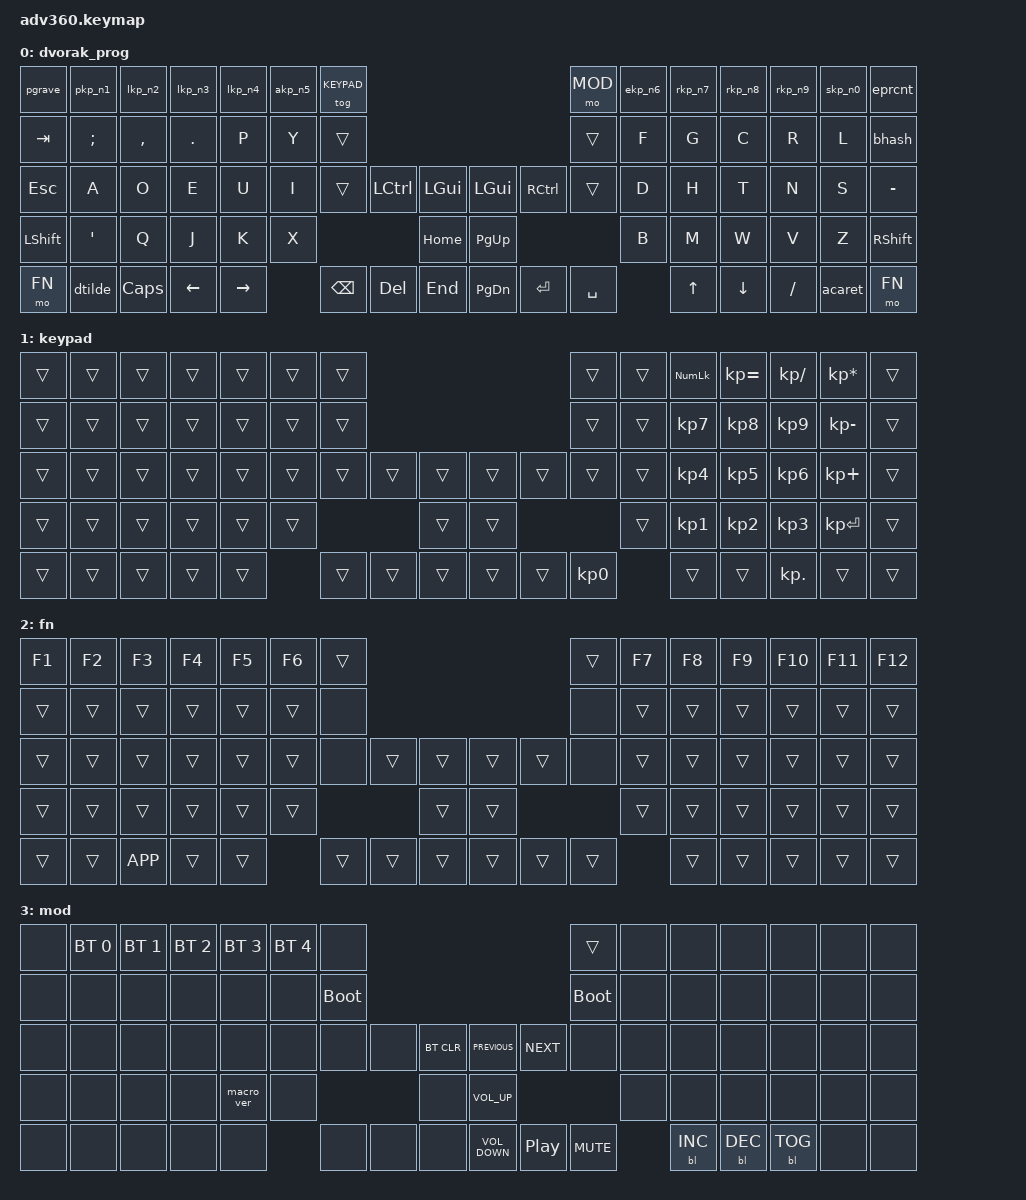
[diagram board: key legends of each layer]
#include <behaviors.dtsi>
#include <dt-bindings/zmk/keys.h>
#include <dt-bindings/zmk/bt.h>
#include <dt-bindings/zmk/rgb.h>
#include <dt-bindings/zmk/backlight.h>


#define ______ &trans
#define xxxxxx &none

#define DVORAKP 0
#define KEYPAD 1
#define FN 2
#define MOD 3


/ {
    behaviors {
        #include "macros.dtsi"
        #include "version.dtsi"
        #ifndef VERSION_MACRO
        macro_ver: macro_ver {
            compatible = "zmk,behavior-macro";
            label = "macro_version";
            #binding-cells = <0>;
            bindings = <&kp RET>;
        };
        #endif

        hm: homerow_mods {
            compatible = "zmk,behavior-hold-tap";
            label = "HOMEROW_MODS";
            #binding-cells = <2>;
            tapping-term-ms = <200>;
            quick_tap_ms = <175>;
            flavor = "tap-preferred";
            bindings = <&kp>, <&kp>;
        };
        gpipe: grave_pipe {
            compatible = "zmk,behavior-mod-morph";
            label = "grave_pipe";
            #binding-cells = <0>;
            bindings = <&kp GRAVE>, <&kp PIPE>;
            mods = <(LGUI|LSHIFT|RGUI|RSHIFT)>;
        };
        ppipe: pipe_pipe {
            compatible = "zmk,behavior-mod-morph";
            label = "pipe_pipe";
            #binding-cells = <0>;
            bindings = <&kp PIPE>, <&kp PIPE>;
            mods = <(LGUI|LSHIFT|RGUI|RSHIFT)>;
        };
        pkp_n1: plus_kp_n1 {
            compatible = "zmk,behavior-mod-morph";
            label = "plus_kp_n1";
            #binding-cells = <0>;
            bindings = <&kp PLUS>, <&kp KP_N1>;
            mods = <(LGUI|LSHIFT|RGUI|RSHIFT)>;
        };
        lkp_n2: left_bracket_kp_n2 {
            compatible = "zmk,behavior-mod-morph";
            label = "left_bracket_kp_n2";
            #binding-cells = <0>;
            bindings = <&kp LEFT_BRACKET>, <&kp KP_N2>;
            mods = <(LGUI|LSHIFT|RGUI|RSHIFT)>;
        };
        lkp_n3: left_brace_kp_n3 {
            compatible = "zmk,behavior-mod-morph";
            label = "left_brace_kp_n3";
            #binding-cells = <0>;
            bindings = <&kp LEFT_BRACE>, <&kp KP_N3>;
            mods = <(LGUI|LSHIFT|RGUI|RSHIFT)>;
        };
        lkp_n4: left_parenthesis_kp_n4 {
            compatible = "zmk,behavior-mod-morph";
            label = "left_parenthesis_kp_n4";
            #binding-cells = <0>;
            bindings = <&kp LEFT_PARENTHESIS>, <&kp KP_N4>;
            mods = <(LGUI|LSHIFT|RGUI|RSHIFT)>;
        };
        akp_n5: amps_kp_n5 {
            compatible = "zmk,behavior-mod-morph";
            label = "amps_kp_n5";
            #binding-cells = <0>;
            bindings = <&kp AMPS>, <&kp KP_N5>;
            mods = <(LGUI|LSHIFT|RGUI|RSHIFT)>;
        };
        ekp_n6: equal_kp_n6 {
            compatible = "zmk,behavior-mod-morph";
            label = "equal_kp_n6";
            #binding-cells = <0>;
            bindings = <&kp EQUAL>, <&kp KP_N6>;
            mods = <(LGUI|LSHIFT|RGUI|RSHIFT)>;
        };
        rkp_n7: right_parenthesis_kp_n7 {
            compatible = "zmk,behavior-mod-morph";
            label = "right_parenthesis_kp_n7";
            #binding-cells = <0>;
            bindings = <&kp RIGHT_PARENTHESIS>, <&kp KP_N7>;
            mods = <(LGUI|LSHIFT|RGUI|RSHIFT)>;
        };
        rkp_n8: right_brace_kp_n8 {
            compatible = "zmk,behavior-mod-morph";
            label = "right_brace_kp_n8";
            #binding-cells = <0>;
            bindings = <&kp RIGHT_BRACE>, <&kp KP_N8>;
            mods = <(LGUI|LSHIFT|RGUI|RSHIFT)>;
        };
        rkp_n9: right_bracket_kp_n9 {
            compatible = "zmk,behavior-mod-morph";
            label = "right_bracket_kp_n9";
            #binding-cells = <0>;
            bindings = <&kp RIGHT_BRACKET>, <&kp KP_N9>;
            mods = <(LGUI|LSHIFT|RGUI|RSHIFT)>;
        };
        skp_n0: star_kp_n0 {
            compatible = "zmk,behavior-mod-morph";
            label = "star_kp_n0";
            #binding-cells = <0>;
            bindings = <&kp STAR>, <&kp KP_N0>;
            mods = <(LGUI|LSHIFT|RGUI|RSHIFT)>;
        };
        eprcnt: excl_prcnt {
            compatible = "zmk,behavior-mod-morph";
            label = "excl_prcnt";
            #binding-cells = <0>;
            bindings = <&kp EXCL>, <&kp PRCNT>;
            mods = <(LGUI|LSHIFT|RGUI|RSHIFT)>;
        };
        dgrave: dllr_grave {
            compatible = "zmk,behavior-mod-morph";
            label = "dllr_grave";
            #binding-cells = <0>;
            bindings = <&kp DLLR>, <&kp GRAVE>;
            mods = <(LGUI|LSHIFT|RGUI|RSHIFT)>;
        };
        dtilde: dllr_tilde {
            compatible = "zmk,behavior-mod-morph";
            label = "dllr_tilde";
            #binding-cells = <0>;
            bindings = <&kp DLLR>, <&kp TILDE>;
            mods = <(LGUI|LSHIFT|RGUI|RSHIFT)>;
        };
        ggrave: grave_grave {
            compatible = "zmk,behavior-mod-morph";
            label = "grave_grave";
            #binding-cells = <0>;
            bindings = <&kp GRAVE>, <&kp GRAVE>;
            mods = <(LGUI|LSHIFT|RGUI|RSHIFT)>;
        };
        pgrave: pipe_grave {
            compatible = "zmk,behavior-mod-morph";
            label = "pipe_grave";
            #binding-cells = <0>;
            bindings = <&kp PIPE>, <&kp GRAVE>;
            mods = <(LGUI|LSHIFT|RGUI|RSHIFT)>;
        };
        bhash: bslh_hash {
            compatible = "zmk,behavior-mod-morph";
            label = "bslh_hash";
            #binding-cells = <0>;
            bindings = <&kp BSLH>, <&kp HASH>;
            mods = <(LGUI|LSHIFT|RGUI|RSHIFT)>;
        };
        acaret: at_caret {
            compatible = "zmk,behavior-mod-morph";
            label = "at_caret";
            #binding-cells = <0>;
            bindings = <&kp AT>, <&kp CARET>;
            mods = <(LGUI|LSHIFT|RGUI|RSHIFT)>;
        };
    };

    keymap {
        compatible = "zmk,keymap";

        dvorak_prog {
            bindings = <
                &pgrave    &pkp_n1   &lkp_n2    &lkp_n3   &lkp_n4    &akp_n5       &tog KEYPAD                                                &mo MOD    &ekp_n6  &rkp_n7  &rkp_n8   &rkp_n9   &skp_n0  &eprcnt
                &kp TAB    &kp SEMI  &kp COMMA  &kp DOT   &kp P      &kp Y         ______                                                     ______     &kp F    &kp G    &kp C     &kp R     &kp L    &bhash
                &kp ESC    &kp A     &kp O      &kp E     &kp U      &kp I         ______       &kp LCTRL  &kp LGUI     &kp LGUI   &kp RCTRL  ______     &kp D    &kp H    &kp T     &kp N     &kp S    &kp MINUS
                &kp LSHFT  &kp SQT   &kp Q      &kp J     &kp K      &kp X                                 &kp HOME     &kp PG_UP                        &kp B    &kp M    &kp W     &kp V     &kp Z    &kp RSHFT
                &mo FN     &dtilde   &kp CAPS   &kp LEFT  &kp RIGHT                &kp BSPC     &kp DEL    &kp END      &kp PG_DN  &kp ENTER  &kp SPACE           &kp UP   &kp DOWN  &kp FSLH  &acaret  &mo FN
            >;
        };

        keypad {
            bindings = <
                ______  ______  ______  ______  ______  ______  ______                                      ______     ______  &kp KP_NUM  &kp KP_EQUAL  &kp KP_DIVIDE  &kp KP_MULTIPLY  ______
                ______  ______  ______  ______  ______  ______  ______                                      ______     ______  &kp KP_N7   &kp KP_N8     &kp KP_N9      &kp KP_MINUS     ______
                ______  ______  ______  ______  ______  ______  ______  ______  ______      ______  ______  ______     ______  &kp KP_N4   &kp KP_N5     &kp KP_N6      &kp KP_PLUS      ______
                ______  ______  ______  ______  ______  ______                  ______      ______                     ______  &kp KP_N1   &kp KP_N2     &kp KP_N3      &kp KP_ENTER     ______
                ______  ______  ______  ______  ______          ______  ______  ______      ______  ______  &kp KP_N0          ______      ______        &kp KP_DOT     ______           ______
            >;
        };

        fn {
            bindings = <
                &kp F1  &kp F2  &kp F3     &kp F4  &kp F5  &kp F6  ______                                      ______  &kp F7  &kp F8  &kp F9  &kp F10  &kp F11  &kp F12
                ______  ______  ______     ______  ______  ______  xxxxxx                                      xxxxxx  ______  ______  ______  ______   ______   ______
                ______  ______  ______     ______  ______  ______  xxxxxx  ______  ______      ______  ______  xxxxxx  ______  ______  ______  ______   ______   ______
                ______  ______  ______     ______  ______  ______                  ______      ______                  ______  ______  ______  ______   ______   ______
                ______  ______  &kp K_APP  ______  ______          ______  ______  ______      ______  ______  ______          ______  ______  ______   ______   ______
            >;
        };

        mod {
            bindings = <
                xxxxxx  &bt BT_SEL 0  &bt BT_SEL 1  &bt BT_SEL 2  &bt BT_SEL 3  &bt BT_SEL 4  xxxxxx                                                                   ______       xxxxxx  xxxxxx      xxxxxx      xxxxxx      xxxxxx  xxxxxx
                xxxxxx  xxxxxx        xxxxxx        xxxxxx        xxxxxx        xxxxxx        &bootloader                                                              &bootloader  xxxxxx  xxxxxx      xxxxxx      xxxxxx      xxxxxx  xxxxxx
                xxxxxx  xxxxxx        xxxxxx        xxxxxx        xxxxxx        xxxxxx        xxxxxx       xxxxxx  &bt BT_CLR     &kp C_PREVIOUS     &kp C_NEXT        xxxxxx       xxxxxx  xxxxxx      xxxxxx      xxxxxx      xxxxxx  xxxxxx
                xxxxxx  xxxxxx        xxxxxx        xxxxxx        &macro_ver    xxxxxx                             xxxxxx         &kp C_VOLUME_UP                                   xxxxxx  xxxxxx      xxxxxx      xxxxxx      xxxxxx  xxxxxx
                xxxxxx  xxxxxx        xxxxxx        xxxxxx        xxxxxx                      xxxxxx       xxxxxx  xxxxxx         &kp C_VOLUME_DOWN  &kp C_PLAY_PAUSE  &kp C_MUTE           &bl BL_INC  &bl BL_DEC  &bl BL_TOG  xxxxxx  xxxxxx
            >;
        };
    };
};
